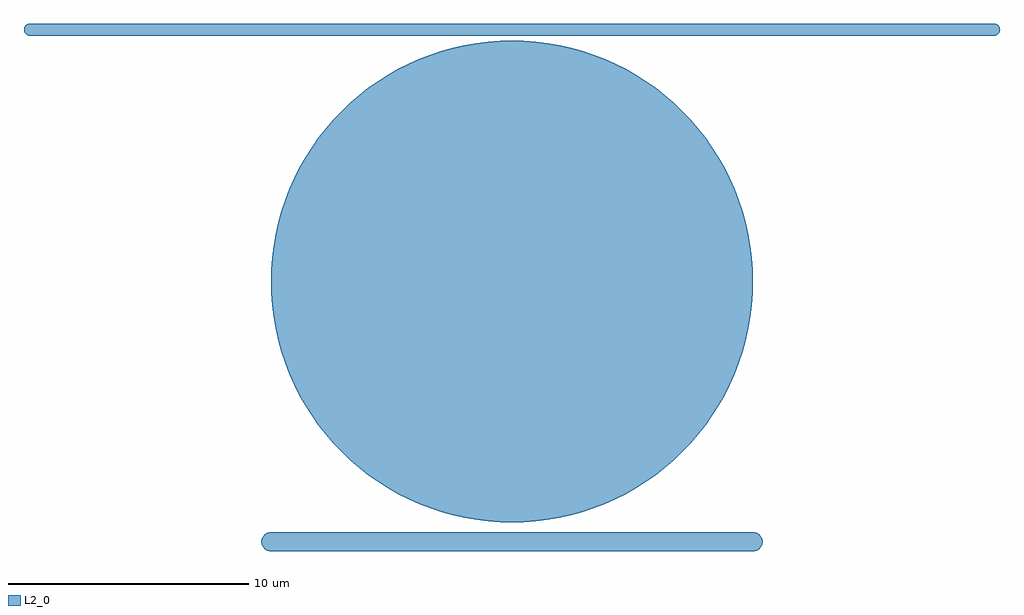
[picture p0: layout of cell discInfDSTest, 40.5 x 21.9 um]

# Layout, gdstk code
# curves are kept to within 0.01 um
import gdstk
lib = gdstk.Library(unit=1e-6, precision=1e-09)
def R(c, l, rs):  # rectangles x0, y0, x1, y1
    for r in rs: c.add(gdstk.rectangle(r[:2], r[2:], *l))
def P(c, l, *ps):  # polygons
    for p in ps: c.add(gdstk.Polygon(p, *l))
L2_0 = (2, 0)

discinfdstest = lib.new_cell('discInfDSTest')
R(discinfdstest, L2_0, [(-10,-11.2,10,-10.4), (-20,10.2,20,10.7)])
P(discinfdstest, L2_0, [(0,-10),(-0.491,-9.988),(-0.98,-9.952),(-1.467,-9.892),(-1.951,-9.808),(-2.43,-9.7),(-2.903,-9.569),(-3.369,-9.415),(-3.827,-9.239),(-4.276,-9.04),(-4.714,-8.819),(-5.141,-8.577),(-5.556,-8.315),(-5.957,-8.032),(-6.344,-7.73),(-6.716,-7.41),(-7.071,-7.071),(-7.41,-6.716),(-7.73,-6.344),(-8.032,-5.957),(-8.315,-5.556),(-8.577,-5.141),(-8.819,-4.714),(-9.04,-4.276),(-9.239,-3.827),(-9.415,-3.369),(-9.569,-2.903),(-9.7,-2.43),(-9.808,-1.951),(-9.892,-1.467),(-9.952,-0.98),(-9.988,-0.491),(-10,0),(-9.988,0.491),(-9.952,0.98),(-9.892,1.467),(-9.808,1.951),(-9.7,2.43),(-9.569,2.903),(-9.415,3.369),(-9.239,3.827),(-9.04,4.276),(-8.819,4.714),(-8.577,5.141),(-8.315,5.556),(-8.032,5.957),(-7.73,6.344),(-7.41,6.716),(-7.071,7.071),(-6.716,7.41),(-6.344,7.73),(-5.957,8.032),(-5.556,8.315),(-5.141,8.577),(-4.714,8.819),(-4.276,9.04),(-3.827,9.239),(-3.369,9.415),(-2.903,9.569),(-2.43,9.7),(-1.951,9.808),(-1.467,9.892),(-0.98,9.952),(-0.491,9.988),(0,10),(0.491,9.988),(0.98,9.952),(1.467,9.892),(1.951,9.808),(2.43,9.7),(2.903,9.569),(3.369,9.415),(3.827,9.239),(4.276,9.04),(4.714,8.819),(5.141,8.577),(5.556,8.315),(5.957,8.032),(6.344,7.73),(6.716,7.41),(7.071,7.071),(7.41,6.716),(7.73,6.344),(8.032,5.957),(8.315,5.556),(8.577,5.141),(8.819,4.714),(9.04,4.276),(9.239,3.827),(9.415,3.369),(9.569,2.903),(9.7,2.43),(9.808,1.951),(9.892,1.467),(9.952,0.98),(9.988,0.491),(10,0),(9.988,-0.491),(9.952,-0.98),(9.892,-1.467),(9.808,-1.951),(9.7,-2.43),(9.569,-2.903),(9.415,-3.369),(9.239,-3.827),(9.04,-4.276),(8.819,-4.714),(8.577,-5.141),(8.315,-5.556),(8.032,-5.957),(7.73,-6.344),(7.41,-6.716),(7.071,-7.071),(6.716,-7.41),(6.344,-7.73),(5.957,-8.032),(5.556,-8.315),(5.141,-8.577),(4.714,-8.819),(4.276,-9.04),(3.827,-9.239),(3.369,-9.415),(2.903,-9.569),(2.43,-9.7),(1.951,-9.808),(1.467,-9.892),(0.98,-9.952),(0.491,-9.988)],
  [(20,10.2),(20,10.7),(20.097,10.68),(20.177,10.627),(20.23,10.547),(20.25,10.45),(20.23,10.353),(20.177,10.273),(20.097,10.22)],
  [(-20,10.2),(-20.097,10.22),(-20.177,10.273),(-20.23,10.353),(-20.25,10.45),(-20.23,10.547),(-20.177,10.627),(-20.097,10.68),(-20,10.7)],
  [(10,-11.2),(10,-10.4),(10.156,-10.431),(10.283,-10.517),(10.369,-10.644),(10.4,-10.8),(10.369,-10.956),(10.283,-11.083),(10.156,-11.169)],
  [(-10,-11.2),(-10.156,-11.169),(-10.283,-11.083),(-10.369,-10.956),(-10.4,-10.8),(-10.369,-10.644),(-10.283,-10.517),(-10.156,-10.431),(-10,-10.4)])

lib.write_gds('discInfDSTest.gds')
